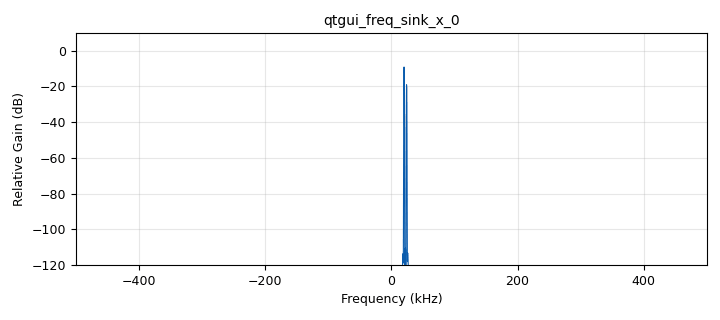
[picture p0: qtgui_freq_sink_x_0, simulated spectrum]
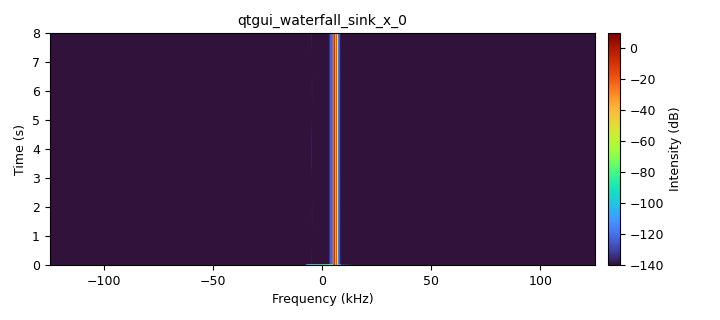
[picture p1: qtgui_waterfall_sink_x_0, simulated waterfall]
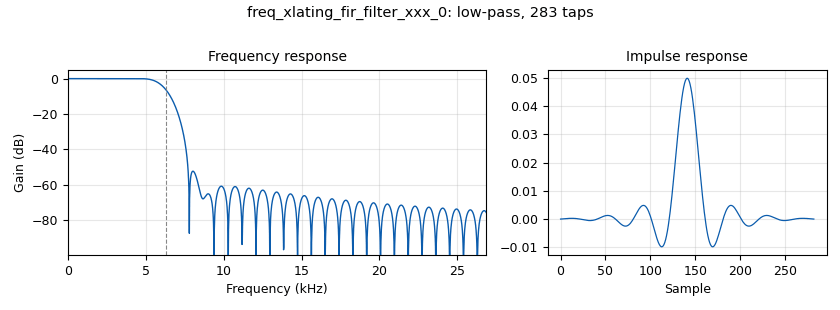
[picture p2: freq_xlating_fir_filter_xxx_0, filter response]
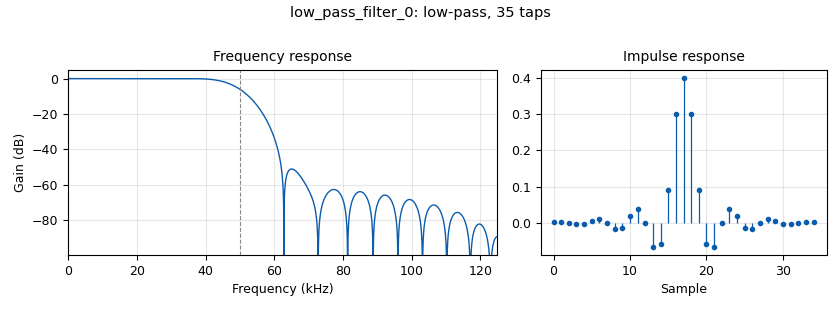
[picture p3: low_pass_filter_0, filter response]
options:
  parameters:
    generate_options: qt_gui
    id: MODULATIONDETECTIONTESTV2
    output_language: python
    title: Not titled yet
  states: {}

blocks:
- name: SNR
  id: variable_qtgui_range
  parameters:
    start: '-20'
    step: '1'
    stop: '100'
    value: '40'
  states: {state: disabled}
- name: samp_rate
  id: variable
  parameters:
    value: 250e3
  states: {}
- name: analog_noise_source_x_0_0
  id: analog_noise_source_x
  parameters:
    amp: '1'
    noise_type: analog.GR_GAUSSIAN
    seed: '0'
    type: complex
  states: {state: disabled}
- name: analog_random_source_x_0
  id: analog_random_source_x
  parameters:
    max: '2'
    min: '0'
    num_samps: '1000'
    repeat: 'True'
    type: byte
  states: {state: disabled}
- name: analog_sig_source_x_0
  id: analog_sig_source_x
  parameters:
    amp: '0.5'
    freq: '1000'
    offset: '0'
    phase: '0'
    samp_rate: samp_rate
    type: complex
    waveform: analog.GR_SIN_WAVE
  states: {}
- name: analog_sig_source_x_0_0
  id: analog_sig_source_x
  parameters:
    amp: '1'
    freq: '5000'
    offset: '0'
    phase: '0'
    samp_rate: samp_rate
    type: complex
    waveform: analog.GR_SIN_WAVE
  states: {}
- name: blocks_add_const_vxx_0
  id: blocks_add_const_vxx
  parameters:
    const: '1'
    type: complex
  states: {}
- name: blocks_char_to_float_0
  id: blocks_char_to_float
  parameters:
    scale: '1'
  states: {state: disabled}
- name: blocks_multiply_xx_0
  id: blocks_multiply_xx
  parameters:
    type: complex
  states: {}
- name: blocks_throttle2_0
  id: blocks_throttle2
  parameters:
    samples_per_second: samp_rate
    type: complex
  states: {state: disabled}
- name: blocks_unpack_k_bits_bb_0
  id: blocks_unpack_k_bits_bb
  parameters:
    k: '8'
  states: {state: disabled}
- name: blocks_unpacked_to_packed_xx_0
  id: blocks_unpacked_to_packed_xx
  parameters:
    bits_per_chunk: '1'
    endianness: gr.GR_MSB_FIRST
    type: byte
  states: {state: disabled}
- name: blocks_vector_source_x_0
  id: blocks_vector_source_x
  parameters:
    repeat: 'True'
    type: byte
    vector: (0, 1, 0,1)
  states: {state: disabled}
- name: digital_gfsk_mod_0
  id: digital_gfsk_mod
  parameters:
    bt: '0.3'
    samples_per_symbol: '4'
    sensitivity: '1.0'
  states: {state: disabled}
- name: digital_gmsk_mod_0
  id: digital_gmsk_mod
  parameters:
    bt: '0.35'
    samples_per_symbol: '4'
  states: {state: disabled}
- name: epy_block_0
  id: epy_block
  parameters:
    N: '4096'
    _source_code: |
      """
      Embedded Python Blocks:

      Each time this file is saved, GRC will instantiate the first class it finds
      to get ports and parameters of your block. The arguments to __init__  will
      be the parameters. All of them are required to have default values!
      """

      import numpy as np
      from gnuradio import gr


      class blk(gr.sync_block):  # other base classes are basic_block, decim_block, interp_block
          """Embedded Python Block example - a simple multiply const"""

          def __init__(self, N=4096):  # only default arguments here
              """arguments to this function show up as parameters in GRC"""
              gr.sync_block.__init__(
                  self,
                  name='mean power calculation',   
                  in_sig=[np.complex64],
                  out_sig=[np.float32]
              )
              
              self.N = N
              self.buffer = np.zeros(self.N, dtype=np.complex64)
              self.idx = 0
              self.last_power = 0.0
              
              
          def meanpower(self,x):
          	power=np.mean(np.abs(x)**2)
          	return power   

          def work(self, input_items, output_items):
              in0 = input_items[0]
              out = output_items[0]
              
              for i in range(len(in0)):
              
              	self.buffer[self.idx] = in0[i]
              	self.idx += 1
              	
              	if self.idx >= self.N:
              	
              		self.last_power = self.meanpower(self.buffer)
              		self.idx = 0
              		
              	out[i] = self.last_power
              		
              		
              
              	
              return len(out)
  states: {}
- name: epy_block_1
  id: epy_block
  parameters:
    SNR: '50'
    _source_code: |
      import numpy as np
      from gnuradio import gr

      class blk(gr.sync_block):

          def __init__(self, SNR=-20):

              gr.sync_block.__init__(
                  self,
                  name='SNR noise adder',
                  in_sig=[np.complex64],
                  out_sig=[np.complex64]
              )

              self.snr_db = SNR

          def work(self, input_items, output_items):

              x = input_items[0]
              out = output_items[0]

              # puissance signal
              Ps = np.mean(np.abs(x)**2)

              # normalisation (puissance ≈ 1)
              x_norm = x / (np.sqrt(Ps) + 1e-12)

              # puissance bruit depuis SNR
              Pn = 1.0 / (10 ** (self.snr_db / 10))

              # bruit complexe unité
              noise = (np.random.randn(len(x)) + 1j*np.random.randn(len(x))) / np.sqrt(2)

              # mise à l'échelle bruit
              noise *= np.sqrt(Pn)

              # signal final
              out[:] = x_norm + noise
              
        #      print("SNR target;", self.snr_db)
         #     print("measured SNR;",10*np.log10(Ps/Pn))

              return len(out)
  states: {state: disabled}
- name: epy_block_2
  id: epy_block
  parameters:
    _source_code: |
      import numpy as np
      import joblib
      from gnuradio import gr
      from scipy.stats import kurtosis
      import warnings

      warnings.filterwarnings("ignore")


      class blk(gr.sync_block):

          def __init__(self):

              gr.sync_block.__init__(
                  self,
                  name="RF SNR Invariant Classifier",
                  in_sig=[np.complex64],
                  out_sig=[np.float32]
              )

              # ============================================================
              # LOAD MODEL + SCALER
              # ============================================================
              self.model = joblib.load(
                  "/home/mathi/DRONE_DETECTION_PROJECT/1_MODULATION_DETECTION/PYTHON_SCRIPTS/rf_model.pkl"
              )

              self.scaler = joblib.load(
                  "/home/mathi/DRONE_DETECTION_PROJECT/1_MODULATION_DETECTION/PYTHON_SCRIPTS/scaler.pkl"
              )

              # ============================================================
              # BUFFER
              # ============================================================
              self.N = 1024
              self.buffer = np.zeros(self.N, dtype=np.complex64)
              self.idx = 0

              # frequency axis for centroid
              self.fs = 48000
              self.freqs = np.fft.fftfreq(self.N, d=1/self.fs)

          # ============================================================
          # FEATURE EXTRACTION (MATCH TRAINING EXACTLY)
          # ============================================================
          def extract_features(self, iq):

              # ------------------------------------------------------------
              # CRITICAL: SAME NORMALIZATION AS TRAINING
              # ------------------------------------------------------------
              iq = iq / (np.sqrt(np.mean(np.abs(iq)**2)) + 1e-12)

              amp = np.abs(iq)

              phase = np.unwrap(np.angle(iq))
              dphi = np.diff(phase)

              # ------------------------------------------------------------
              # TIME FEATURES
              # ------------------------------------------------------------
              var_amp = np.var(amp)
              kurt = kurtosis(np.real(iq))
              var_dphi = np.var(dphi)

              # ------------------------------------------------------------
              # SPECTRAL FEATURES (FFT PSD)
              # ------------------------------------------------------------
              fft = np.fft.fft(iq)
              psd = np.abs(fft) ** 2
              psd = psd / (np.sum(psd) + 1e-12)

              entropy = -np.sum(psd * np.log2(psd + 1e-12))

              spectral_centroid = np.sum(self.freqs * psd)

              # ------------------------------------------------------------
              # CYCLOSTATIONARY
              # ------------------------------------------------------------
              cyclo = np.abs(np.mean(iq[:-1] * np.conj(iq[1:])))

              # ------------------------------------------------------------
              # FINAL VECTOR (ORDER MUST MATCH TRAINING)
              # ------------------------------------------------------------
              features = np.array([
                  var_amp,
                  kurt,
                  var_dphi,
                  entropy,
                  spectral_centroid,
                  cyclo
              ]).reshape(1, -1)

              return features

          # ============================================================
          # GNU RADIO LOOP
          # ============================================================
          def work(self, input_items, output_items):

              in0 = input_items[0]
              out = output_items[0]

              for sample in in0:

                  self.buffer[self.idx] = sample
                  self.idx += 1

                  if self.idx == self.N:

                      feats = self.extract_features(self.buffer)

                      feats = self.scaler.transform(feats)

                      pred = self.model.predict(feats)[0]

                      # output prediction
                      out[:] = float(pred)

                      self.idx = 0
                      return len(out)

              out[:] = -1
              return len(out)
  states: {}
- name: freq_xlating_fir_filter_xxx_0
  id: freq_xlating_fir_filter_xxx
  parameters:
    center_freq: '0'
    decim: '1'
    samp_rate: samp_rate
    taps: firdes.low_pass(1,2e6,50e3,17e3)
    type: ccc
  states: {}
- name: low_pass_filter_0
  id: low_pass_filter
  parameters:
    cutoff_freq: 50e3
    decim: '1'
    gain: '1'
    samp_rate: samp_rate
    type: fir_filter_ccf
    width: 17e3
    win: window.WIN_HAMMING
  states: {}
- name: qtgui_freq_sink_x_0
  id: qtgui_freq_sink_x
  parameters:
    bw: 1e6
    fc: '0'
    fftsize: '4096'
    type: complex
    ymin: '-120'
  states: {}
- name: qtgui_number_sink_0
  id: qtgui_number_sink
  parameters:
    graph_type: qtgui.NUM_GRAPH_NONE
    name: '"power mean"'
    type: float
  states: {}
- name: qtgui_number_sink_1
  id: qtgui_number_sink
  parameters:
    graph_type: qtgui.NUM_GRAPH_NONE
    max: '10'
    min: '0'
    name: '"label"'
    type: float
  states: {}
- name: qtgui_time_sink_x_0
  id: qtgui_time_sink_x
  parameters:
    size: '1024'
    srate: samp_rate
    type: float
    ymin: '0'
  states: {state: disabled}
- name: qtgui_waterfall_sink_x_0
  id: qtgui_waterfall_sink_x
  parameters:
    bw: samp_rate
    fc: '0'
    fftsize: '2048'
    type: complex
  states: {}

connections:
- [analog_noise_source_x_0_0, '0', blocks_throttle2_0, '0']
- [analog_noise_source_x_0_0, '0', epy_block_0, '0']
- [analog_noise_source_x_0_0, '0', low_pass_filter_0, '0']
- [analog_random_source_x_0, '0', blocks_unpacked_to_packed_xx_0, '0']
- [analog_sig_source_x_0, '0', blocks_add_const_vxx_0, '0']
- [analog_sig_source_x_0_0, '0', blocks_multiply_xx_0, '0']
- [blocks_add_const_vxx_0, '0', blocks_multiply_xx_0, '1']
- [blocks_char_to_float_0, '0', qtgui_time_sink_x_0, '0']
- [blocks_multiply_xx_0, '0', low_pass_filter_0, '0']
- [blocks_throttle2_0, '0', epy_block_1, '0']
- [blocks_unpack_k_bits_bb_0, '0', blocks_char_to_float_0, '0']
- [blocks_unpacked_to_packed_xx_0, '0', blocks_unpack_k_bits_bb_0, '0']
- [blocks_unpacked_to_packed_xx_0, '0', digital_gfsk_mod_0, '0']
- [blocks_unpacked_to_packed_xx_0, '0', digital_gmsk_mod_0, '0']
- [blocks_vector_source_x_0, '0', blocks_unpack_k_bits_bb_0, '0']
- [blocks_vector_source_x_0, '0', digital_gmsk_mod_0, '0']
- [digital_gfsk_mod_0, '0', low_pass_filter_0, '0']
- [digital_gmsk_mod_0, '0', low_pass_filter_0, '0']
- [epy_block_0, '0', qtgui_number_sink_0, '0']
- [epy_block_1, '0', epy_block_2, '0']
- [epy_block_1, '0', qtgui_freq_sink_x_0, '0']
- [epy_block_1, '0', qtgui_waterfall_sink_x_0, '0']
- [epy_block_2, '0', qtgui_number_sink_1, '0']
- [freq_xlating_fir_filter_xxx_0, '0', epy_block_0, '0']
- [freq_xlating_fir_filter_xxx_0, '0', epy_block_1, '0']
- [freq_xlating_fir_filter_xxx_0, '0', epy_block_2, '0']
- [freq_xlating_fir_filter_xxx_0, '0', qtgui_freq_sink_x_0, '0']
- [freq_xlating_fir_filter_xxx_0, '0', qtgui_waterfall_sink_x_0, '0']
- [low_pass_filter_0, '0', freq_xlating_fir_filter_xxx_0, '0']

metadata:
  file_format: 1
  grc_version: 3.10.12.0
